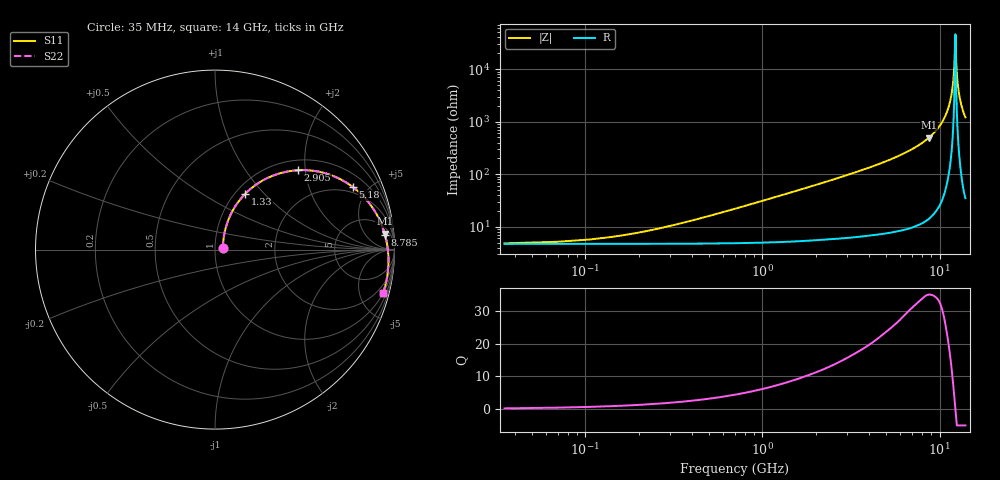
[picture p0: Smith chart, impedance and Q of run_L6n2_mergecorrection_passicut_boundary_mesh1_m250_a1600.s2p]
#  Hz  S  RI  R  50
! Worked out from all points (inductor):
!   400 points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, 35 MHz to 14 GHz, reference 50 ohm
!   read as one part in series: L = 4.86 nH near 490 MHz
!   highest Q = 35.1 at 8.715 GHz (marker M1), where L = 9.07 nH
!   self-resonance near 12.29 GHz
!   S11 on the Smith chart (normalised r, x): 35 MHz: 1.09, +0.02; 1.33 GHz: 1.11, +0.78; 2.905 GHz: 1.22, +1.82; 5.18 GHz: 1.64, +3.96; 8.785 GHz: 10, +17; 14 GHz: 1.05, -7.82
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3.5e7  0.0436 0.00914  0.9534 -0.0104  0.9534 -0.0104  0.0436 0.00913
5.6e8  0.0664 0.1435  0.9242 -0.1609  0.9242 -0.1609  0.0664 0.1435
1.33e9  0.1663 0.309  0.8135 -0.3339  0.8135 -0.3339  0.1663 0.3089
2.38e9  0.364 0.4257  0.6135 -0.4599  0.6135 -0.4599  0.3639 0.4256
2.905e9  0.4612 0.4421  0.515 -0.4816  0.515 -0.4816  0.4611 0.4421
4.69e9  0.7179 0.3817  0.2559 -0.4398  0.2559 -0.4398  0.7178 0.3816
5.18e9  0.7672 0.3494  0.2061 -0.4127  0.2061 -0.4127  0.7671 0.3493
7.035e9  0.8914 0.2121  0.0796 -0.2959  0.0796 -0.2959  0.8913 0.212
8.715e9  0.9455 0.0885  0.0232 -0.1912  0.0232 -0.1912  0.9454 0.0884
8.785e9  0.9469 0.0836  0.0217 -0.1871  0.0217 -0.1871  0.9468 0.0835
9.345e9  0.9562 0.0444  0.0116 -0.1543  0.0116 -0.1543  0.9561 0.0443
1.0815e10  0.9665 -0.0531  -0.00111 -0.0735  -0.00111 -0.0735  0.9664 -0.0532
1.169e10  0.9646 -0.1076  -0.000895 -0.0291  -0.000895 -0.0291  0.9645 -0.1077
1.19e10  0.9633 -0.1203  -0.000105 -0.0188  -0.000105 -0.0188  0.9633 -0.1204
1.2075e10  0.9621 -0.1307  0.000774 -0.0104  0.000774 -0.0104  0.9621 -0.1308
1.218e10  0.9613 -0.137  0.0014 -0.00534  0.0014 -0.00534  0.9613 -0.1371
1.2285e10  0.9605 -0.1431  0.00209 -0.000355  0.00209 -0.000356  0.9604 -0.1432
1.246e10  0.9589 -0.1534  0.00338 0.00786  0.00338 0.00786  0.9588 -0.1535
1.2565e10  0.9579 -0.1595  0.00424 0.0127  0.00424 0.0127  0.9578 -0.1596
1.274e10  0.956 -0.1696  0.0058 0.0208  0.0058 0.0208  0.9559 -0.1697
1.323e10  0.9497 -0.1974  0.0109 0.0427  0.0109 0.0427  0.9496 -0.1975
1.4e10  0.9373 -0.2393  0.0214 0.0759  0.0214 0.0759  0.9372 -0.2394
